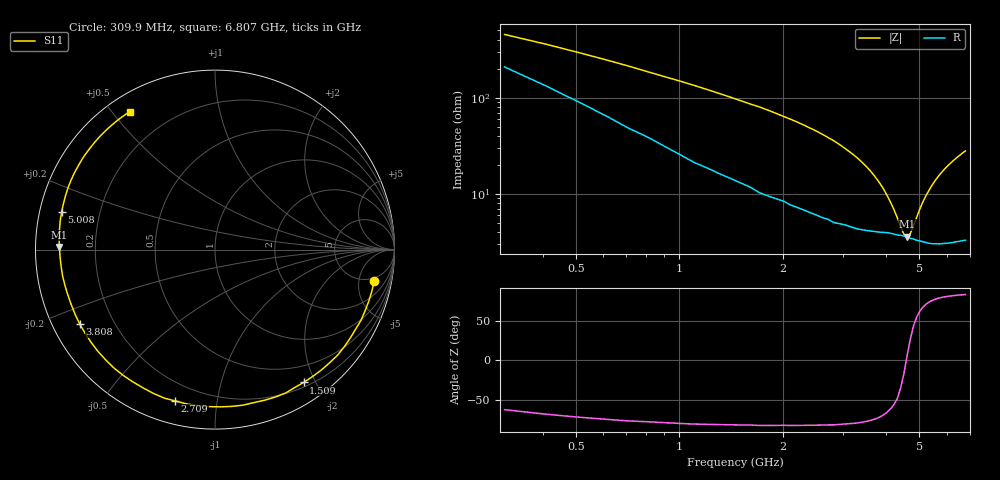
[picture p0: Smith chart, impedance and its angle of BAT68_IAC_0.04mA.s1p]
! Infineon Technologies  Discrete & RF Semiconductors
! BAT68
! IAC = 0.04 mA
! One-Port S-Parameters
# Hz  S  MA  R  50
!f  S11
!Hz  Mag  Ang
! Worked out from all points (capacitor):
!   66 points, 309.9 MHz to 6.807 GHz, reference 50 ohm
!   read as one part to ground: C = 1.15 pF near 309.9 MHz
!   lowest |Z| = 3.6 ohm at 4.608 GHz (marker M1)
!   series resonance near 4.581 GHz, so ESL is about 1 nH
!   S11 on the Smith chart (normalised r, x): 309.9 MHz: 4.17, -8.07; 1.509 GHz: 0.26, -1.84; 2.709 GHz: 0.11, -0.76; 3.808 GHz: 0.08, -0.26; 5.008 GHz: 0.06, +0.12; 6.807 GHz: 0.07, +0.56
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3.0985e8  0.9046 -11.2
5.0975e8  0.9037 -18.4
7.0965e8  0.9041 -25.7
1.0095e9  0.9011 -36.9
1.2094e9  0.8974 -44.5
1.50925e9  0.8897 -56.3
1.8091e9  0.8877 -67.7
2.009e9  0.8796 -75.9
2.2089e9  0.8785 -83.9
2.4088e9  0.8755 -92.2
2.6087e9  0.8742 -100.5
2.70865e9  0.8718 -104.8
2.8086e9  0.8743 -108.8
3.0085e9  0.8683 -117.7
3.2084e9  0.8678 -126.1
3.4083e9  0.8652 -134.6
3.6082e9  0.8625 -143.0
3.8081e9  0.8601 -151.2
4.10795e9  0.8579 -163.0
4.4078e9  0.8623 -173.9
4.6077e9  0.8665 179.1
4.8076e9  0.8736 172.6
5.0075e9  0.88 166.2
5.2074e9  0.8855 159.9
5.6072e9  0.8935 148.5
6.007e9  0.8981 138.6
6.4068e9  0.9008 129.7
6.8066e9  0.9041 121.7
